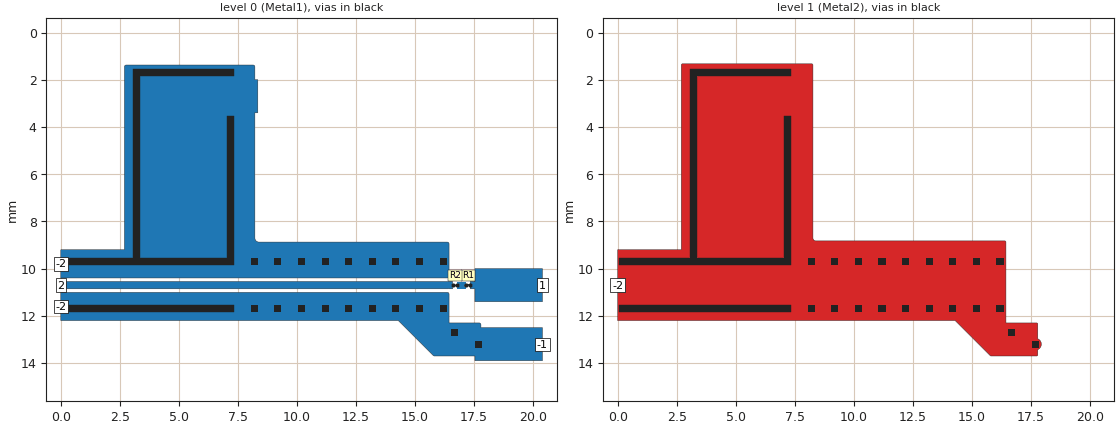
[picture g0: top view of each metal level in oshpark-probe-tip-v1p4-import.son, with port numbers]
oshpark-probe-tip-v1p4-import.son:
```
FTYP SONPROJ 18 ! Sonnet Project File
VER 17.56
HEADER
LIC antikernel2.1.50170 3cfdfeabd719 havequick azonenberg Level3Gold
DAT 03/04/2021 00:49:45
BUILT_BY_CREATED dxf 17.52.2 05/01/2020 05:35:06
BUILT_BY_SAVED sonnet 17.56
MDATE 03/04/2021 00:45:35
HDATE 03/04/2021 00:45:35
ANN Created by dxfgeo, Sonnet Software Inc.
END HEADER
DIM
ANG DEG
CAP PF
CON /OH
FREQ GHZ
IND NH
LNG MM
RES OH
END DIM
CONTROL
VARSWP
OPTIONS  -dj
SPEED 1
CACHE_ABS 1
Q_ACC N
END CONTROL
GEO
TMET "Free Space" 0 FREESPACE 376.7303136 0 0 0
BMET "Free Space" 0 FREESPACE 376.7303136 0 0 0
MET "Copper 1oz thick" 2 TMM 58000000 0.5 0.035 2
MET "Nickel " 3 TMM 14300000 0.5 3.5e-05 2
MET "Copper 0.5oz" 1 NOR 58000000 0.5 0.0175 
MET "Unknown_metal" 1 NOR INF 0.5 0 
MET "Unknown_metal" 1 VOL INF 0
BRI "Alumina (96%)" 0 9.4 0.0004 0 
BRI "Alumina (99.5%)" 0 9.9 0.0001 0 
BRI "Aluminum Nitride" 0 8.6 0.0003 0 
BRI "Arlon 25FR" 0 3.58 0.0035 0 
BRI "Arlon 25N" 0 3.38 0.0025 0 
BRI "Arlon AD5" 0 5.1 0.003 0 
BRI "Arlon AD10" 0 10.2 0.005 0 
BRI "Arlon AD250" 0 2.5 0.0018 0 
BRI "Arlon AD255A" 0 2.55 0.0015 0 
BRI "Arlon AD260A" 0 2.6 0.0018 0 
BRI "Arlon AD270" 0 2.7 0.0023 0 
BRI "Arlon AD300A" 0 3 0.002 0 
BRI "Arlon AD320A" 0 3.2 0.0032 0 
BRI "Arlon AD350A" 0 3.5 0.003 0 
BRI "Arlon AD410" 0 4.1 0.003 0 
BRI "Arlon AD430" 0 4.3 0.003 0 
BRI "Arlon AD450" 0 4.5 0.0035 0 
BRI "Arlon AD600" 0 6.15 0.003 0 
BRI "Arlon AD1000" 0 10.2 0.0023 0 
BRI "Arlon AR1000" 0 9.8 0.003 0 
BRI "Arlon CLTE" 0 2.96 0.0023 0 
BRI "Arlon CLTE-AT" 0 3 0.0013 0 
BRI "Arlon CLTE-P" 0 2.94 0.0025 0 
BRI "Arlon CLTE-XT" 0 2.94 0.0012 0 
BRI "Arlon Cu 217LX" 0 2.17 0.0009 0 
BRI "Arlon Cu 233LX" 0 2.33 0.0013 0 
BRI "Arlon Cu 250GT" 0 2.5 0.001 0 
BRI "Arlon Cu 250GX" 0 2.5 0.0018 0 
BRI "Arlon Cu 6250" 0 2.32 0.0013 0 
BRI "Arlon Cu 6700" 0 2.35 0.0025 0 
BRI "Arlon Di 522" 0 2.5 0.001 0 
BRI "Arlon Di 527" 0 2.5 0.0018 0 
BRI "Arlon Di 870" 0 2.33 0.0013 0 
BRI "Arlon Di 880" 0 2.17 0.0009 0 
BRI "Arlon Iso 917" 0 2.17 0.0013 0 
BRI "Arlon Iso 933" 0 2.33 0.0016 0 
BRI "Arlon Multi HF" 0 3.7 0.004 0 
BRI "Arlon TC350" 0 3.5 0.002 0 
BRI "Arlon TC600" 0 6.15 0.002 0 
BRI "Beryllia (99.5%)" 0 6.5 0.0004 0 
BRI "CEM-1" 0 4.5 0.02 0 
BRI "CEM-3" 0 4.5 0.02 0 
BRI "Dupont 9K7" 0 7.1 0.0012 0 
BRI "Dupont 943" 0 7.4 0.002 0 
BRI "Dupont 951" 0 7.8 0.006 0 
BRI "Dupont FEP" 0 2 0.0005 0 
BRI "Dupont Vacrel" 0 3.8 0.011 0 
BRI "ESL 41010" 0 7.5 0.005 0 
BRI "ESL 41020" 0 7.25 0.005 0 
BRI "ESL 41050" 0 13.5 0.002 0 
BRI "ESL 41060" 0 16.5 0.002 0 
BRI "ESL 41110" 0 4.5 0.004 0 
BRI "Ferro A6M" 0 5.9 0.002 0 
BRI "Ferro A6S" 0 5.9 0.002 0 
BRI "Ferro L8" 0 7.3 0.0018 0 
BRI "FR-4" 0 4.4 0.02 0 
BRI "G-10" 0 4.8 0.025 0 
BRI "Gallium Arsenide" 0 12.9 0.006 0 
BRI "Gallium Nitride" 0 9.7 0 0 
BRI "Glass (Pyrex)" 0 4.82 0.0054 0 
BRI "Heraeus HL2000" 0 7.3 0.0026 0 
BRI "Isola 370HR" 0 4.04 0.021 0 
BRI "Isola FR408" 0 3.77 0.0116 0 
BRI "Isola FR408HR" 0 3.68 0.0092 0 
BRI "Isola Getek" 0 3.6 0.01 0 
BRI "Isola GI-180" 0 3.7 0.013 0 
BRI "Isola IS415" 0 3.82 0.0125 0 
BRI "Isola IS620i" 0 3.58 0.006 0 
BRI "Isola IS680-280" 0 2.8 0.0025 0 
BRI "Isola IS680-300" 0 3 0.003 0 
BRI "Isola IS680-320" 0 3.2 0.003 0 
BRI "Isola IS680-333" 0 3.33 0.003 0 
BRI "Isola IS680-338" 0 3.38 0.0032 0 
BRI "Isola IS680-345" 0 3.45 0.0036 0 
BRI "Kerafol CT800" 0 5.3 0.008 0 
BRI "Nelco MW9350" 0 3.7 0.004 0 
BRI "Nelco N4000-12" 0 3.7 0.008 0 
BRI "Nelco N4000-13" 0 3.7 0.009 0 
BRI "Nelco N4000-13SI" 0 3.2 0.007 0 
BRI "Nelco N4000-13EP" 0 3.7 0.008 0 
BRI "Nelco N4350-13RF" 0 3.5 0.0065 0 
BRI "Nelco N4380-13RF" 0 3.8 0.007 0 
BRI "Nelco N9300-13RF" 0 3 0.004 0 
BRI "Nelco N9320-13RF" 0 3.2 0.0045 0 
BRI "Nelco N9338-13RF" 0 3.38 0.0046 0 
BRI "Nelco N9350-13RF" 0 3.48 0.0055 0 
BRI "Nelco NH9294" 0 2.94 0.0022 0 
BRI "Nelco NH9300" 0 3 0.0023 0 
BRI "Nelco NH9320" 0 3.2 0.0024 0 
BRI "Nelco NH9338" 0 3.38 0.0025 0 
BRI "Nelco NH9348" 0 3.48 0.003 0 
BRI "Nelco NH9350" 0 3.5 0.003 0 
BRI "Nelco NH9410" 0 4.1 0.003 0 
BRI "Nelco NH9450" 0 4.5 0.003 0 
BRI "Nelco NX9240" 0 2.4 0.0016 0 
BRI "Nelco NX9245" 0 2.45 0.0016 0 
BRI "Nelco NX9250" 0 2.5 0.0017 0 
BRI "Nelco NX9255" 0 2.55 0.0018 0 
BRI "Nelco NX9260" 0 2.6 0.0019 0 
BRI "Nelco NY9208" 0 2.08 0.0006 0 
BRI "Nelco NY9217" 0 2.17 0.0008 0 
BRI "Nelco NY9220" 0 2.2 0.0009 0 
BRI "Nelco NY9233" 0 2.33 0.0011 0 
BRI "PET" 0 3.37 0.0208 0 
BRI "Polyimide" 0 3.5 0.003 0 
BRI "Quartz (Fused)" 0 3.78 0.0001 0 
BRI "Rogers 3001" 0 2.28 0.003 0 
BRI "Rogers RO2808" 0 7.6 0.0015 0 
BRI "Rogers RO3003" 0 3 0.0013 0 
BRI "Rogers RO3006" 0 6.5 0.002 0 
BRI "Rogers RO3010" 0 11.2 0.0022 0 
BRI "Rogers RO3035" 0 3.6 0.0018 0 
BRI "Rogers RO3203" 0 3.02 0.0016 0 
BRI "Rogers RO3206" 0 6.6 0.0027 0 
BRI "Rogers RO3210" 0 10.8 0.0027 0 
BRI "Rogers RO3730" 0 3 0.0016 0 
BRI "Rogers RO4003C" 0 3.55 0.0029 0 
BRI "Rogers RO4533" 0 3.45 0.0029 0 
BRI "Rogers RO4534" 0 3.4 0.003 0 
BRI "Rogers RO4350B" 0 3.66 0.0037 0 
BRI "Rogers RO4350BTX" 0 3.66 0.0034 0 
BRI "Rogers RO4360" 0 6.15 0.0038 0 
BRI "Rogers RO4450B-3.6" 0 3.3 0.0043 0 
BRI "Rogers RO4450B-4" 0 3.54 0.004 0 
BRI "Rogers RO4450F" 0 3.52 0.0041 0 
BRI "Rogers RO4730" 0 3 0.0033 0 
BRI "Rogers RT5870" 0 2.33 0.0012 0 
BRI "Rogers RT5880" 0 2.2 0.0009 0 
BRI "Rogers RT5880LZ" 0 1.96 0.0019 0 
BRI "Rogers RT6002" 0 2.94 0.0012 0 
BRI "Rogers RT6006" 0 6.15 0.0027 0 
BRI "Rogers RT6010LM" 0 10.9 0.0023 0 
BRI "Rogers RT6035HTC" 0 3.6 0.0013 0 
BRI "Rogers RT6202" 0 2.94 0.0015 0 
BRI "Rogers RT6202PR" 0 2.95 0.0015 0 
BRI "Rogers Syron7000" 0 3.4 0.0045 0 
BRI "Rogers Syron7100-2" 0 3.61 0.006 0 
BRI "Rogers Syron7100-4" 0 3.39 0.005 0 
BRI "Rogers Theta" 0 4.01 0.0118 0 
BRI "Rogers TMM 3" 0 3.39 0.002 0 
BRI "Rogers TMM 4" 0 4.5 0.002 0 
BRI "Rogers TMM 6" 0 6 0.0023 0 
BRI "Rogers TMM 10" 0 9.56 0.0022 0 
BRI "Rogers TMM 10i" 0 9.96 0.002 0 
BRI "Rogers UL2000" 0 2.5 0.0019 0 
BRI "Rogers UL3850" 0 3.05 0.0025 0 
BRI "Rogers UL3908" 0 2.9 0.0025 0 
BRI "Rogers XT8000" 0 3.34 0.0035 0 
BRI "Rogers XT8100-2" 0 3.54 0.0049 0 
BRI "Rogers XT8100-4" 0 3.32 0.0038 0 
BRI "Silicon (intrinsic)" 0 11.9 0.004 0.00044 
BRI "Silicon Dioxide" 0 3.9 0 0 
BRI "Silicon Nitride" 0 7.5 0 0 
BRI "Taconic CER-10" 0 10 0.0035 0 
BRI "Taconic FastFilm" 0 2.7 0.0012 0 
BRI "Taconic Fastrise-DS" 0 2.96 0.0018 0 
BRI "Taconic Fastrise27" 0 2.7 0.0014 0 
BRI "Taconic Fastrise77" 0 7.7 0.0034 0 
BRI "Taconic FEP" 0 2 0.0003 0 
BRI "Taconic RF-30" 0 3 0.0014 0 
BRI "Taconic RF-35" 0 3.5 0.0018 0 
BRI "Taconic RF-35A2" 0 3.5 0.0011 0 
BRI "Taconic RF-35P" 0 3.5 0.0025 0 
BRI "Taconic RF-41" 0 4.1 0.0038 0 
BRI "Taconic RF-43" 0 4.3 0.0033 0 
BRI "Taconic RF-45" 0 4.5 0.0037 0 
BRI "Taconic RF-60A" 0 6.15 0.0038 0 
BRI "Taconic RF-301" 0 2.97 0.0012 0 
BRI "Taconic TacBond HT" 0 2.35 0.0025 0 
BRI "Taconic TLA-6" 0 2.62 0.0012 0 
BRI "Taconic TLC-27" 0 2.75 0.003 0 
BRI "Taconic TLC-30" 0 3 0.003 0 
BRI "Taconic TLC-32" 0 3.2 0.003 0 
BRI "Taconic TLE-95" 0 2.95 0.0028 0 
BRI "Taconic TLF-34" 0 3.4 0.002 0 
BRI "Taconic TLF-35" 0 3.5 0.002 0 
BRI "Taconic TLP-3" 0 2.33 0.0009 0 
BRI "Taconic TLP-5" 0 2.2 0.0009 0 
BRI "Taconic TLP-5A" 0 2.17 0.0009 0 
BRI "Taconic TLT-0" 0 2.45 0.0006 0 
BRI "Taconic TLT-9" 0 2.5 0.0006 0 
BRI "Taconic TLT-8" 0 2.55 0.0006 0 
BRI "Taconic TLT-7" 0 2.6 0.0006 0 
BRI "Taconic TLT-6" 0 2.65 0.0006 0 
BRI "Taconic TLX-0" 0 2.45 0.0019 0 
BRI "Taconic TLX-9" 0 2.5 0.0019 0 
BRI "Taconic TLX-8" 0 2.55 0.0019 0 
BRI "Taconic TLX-7" 0 2.6 0.0019 0 
BRI "Taconic TLX-6" 0 2.65 0.0019 0 
BRI "Taconic TLY-3" 0 2.33 0.0009 0 
BRI "Taconic TLY-3F" 0 2.33 0.0009 0 
BRI "Taconic TLY-5" 0 2.2 0.0009 0 
BRI "Taconic TLY-5-L" 0 2.2 0.0009 0 
BRI "Taconic TLY-5A" 0 2.17 0.0009 0 
BRI "Taconic TLY-5A-L" 0 2.17 0.0009 0 
BRI "Taconic TPG-30" 0 3 0.0038 0 
BRI "Taconic TPG-32" 0 3.2 0.005 0 
BRI "Taconic TPG-35" 0 3.5 0.005 0 
BRI "Taconic TRF-41" 0 4.1 0.0035 0 
BRI "Taconic TRF-43" 0 4.3 0.0035 0 
BRI "Taconic TRF-45" 0 4.5 0.0035 0 
BRI "Taconic TSM-DS" 0 2.85 0.001 0 
BRI "Taconic TSM-DS3" 0 3 0.0011 0 
BRI "Taconic TSM-26" 0 2.6 0.0014 0 
BRI "Taconic TSM-29" 0 2.94 0.0013 0 
BRI "Taconic TSM-30" 0 3 0.0013 0 
BRI "Teflon (PTFE)" 0 2.08 0.0004 0 
BOX 2 20.4 15 1632 1200 20 0
      1 1 1 0 0 0 0 "Air"
      0.166 3.6 1 0.0092 0 0 0 "Isola FR408HR"
      1 1 1 0 0 0 0 "Air"
TECHLAY METAL Metal1 BLACK -2 0 
0 0 0 N 1387 1 1 100 100 0 0 0 Y
END
END
TECHLAY VIA Via1 <UNSPECIFIED> -4 0 
VIA POLYGON
1 0 -1 N 1399 1 1 100 100 0 0 0 Y
TOLEVEL 0 RING NOCOVERS
END
END
TECHLAY METAL Metal2 BLACK -3 0 
1 0 2 N 1401 1 1 100 100 0 0 0 Y
END
END
LORGN 0 15 U 
POR1 BOX
POLY 418 1
73
-2 50 0 0 0 0 9.7975 
POR1 BOX
POLY 4 1
14
1 50 0 0 0 20.4 10.7 
POR1 BOX
POLY 419 1
6
2 50 0 0 0 0 10.7 
POR1 BOX
POLY 420 1
45
-1 50 0 0 0 20.4 13.2 
POR1 BOX
POLY 420 1
31
-2 50 0 0 0 0 11.6025 
POR1 BOX
POLY 421 1
100
-2 50 0 0 0 0 10.7 
SMD 0 "R1"
ID 434
GNDREF FLOAT
SBOX 17.193875 17.291625 10.637125 10.734875
PBSHW Y
PBOX 17.145 17.3405 10.637125 10.734875
PKG 0.48 0.26 0.05
LPOS 17.24275 10.637125
TYPE SPARAM 1
SMDP 0 17.3405 10.6845 R 3 1 
EXSMDP
GNDREF FLOAT
TERMW FEED
END EXSMDP
SMDP 0 17.145 10.6875 L 4 2 
EXSMDP
GNDREF FLOAT
TERMW FEED
END EXSMDP
END
SMD 0 "R2"
ID 439
GNDREF FLOAT
SBOX 16.645 16.745 10.65 10.75
PBSHW Y
PBOX 16.595 16.795 10.65 10.75
PKG 0.48 0.26 0.05
LPOS 16.695 10.65
TYPE SPARAM 2
SMDP 0 16.795 10.7 R 5 1 
EXSMDP
GNDREF FLOAT
TERMW FEED
END EXSMDP
SMDP 0 16.595 10.7 L 6 2 
EXSMDP
GNDREF FLOAT
TERMW FEED
END EXSMDP
END
NUM 28
0 13 0 N 3 1 1 100 100 0 0 0 Y
TLAYNAM Metal1 INH
16.795 10.855
16.795 10.545
16.945 10.545
16.945 10.55
16.995 10.55
16.995 10.545
17.145 10.545
17.145 10.855
16.995 10.855
16.995 10.85
16.945 10.85
16.945 10.855
16.795 10.855
END
0 77 0 N 418 1 1 100 100 0 0 0 Y
TLAYNAM Metal1 INH
16.388 10.393
16.395 10.391
16.402 10.388
16.409 10.384
16.415 10.38
16.42 10.376
16.426 10.37
16.43 10.365
16.434 10.359
16.438 10.352
16.441 10.345
16.443 10.338
16.445 10.324
16.445 8.946
16.443 8.932
16.441 8.925
16.438 8.918
16.434 8.911
16.43 8.905
16.426 8.9
16.42 8.894
16.415 8.89
16.409 8.886
16.402 8.882
16.395 8.879
16.388 8.877
16.374 8.875
8.401 8.875
8.396 8.876
8.395 8.876
8.358 8.872
8.325 8.862
8.294 8.845
8.274 8.828
8.25 8.799
8.233 8.768
8.223 8.733
8.219 8.7
8.219 8.699
8.22 8.692
8.22 3.4
8.345 3.4
8.345 2
8.22 2
8.22 1.446
8.218 1.432
8.216 1.425
8.213 1.418
8.209 1.411
8.205 1.405
8.201 1.4
8.195 1.394
8.19 1.39
8.184 1.386
8.177 1.382
8.17 1.379
8.163 1.377
8.149 1.375
2.766 1.375
2.752 1.377
2.745 1.379
2.738 1.382
2.731 1.386
2.725 1.39
2.72 1.394
2.714 1.4
2.71 1.405
2.706 1.411
2.702 1.418
2.699 1.425
2.697 1.432
2.695 1.446
2.695 9.2
0 9.2
0 10.395
16.374 10.395
16.388 10.393
END
0 17 0 N 4 1 1 100 100 0 0 0 Y
TLAYNAM Metal1 INH
17.54 11.4
17.54 10.855
17.345 10.855
17.345 10.741
17.344 10.738
17.341 10.723
17.34 10.708
17.34 10.692
17.341 10.677
17.344 10.662
17.345 10.659
17.345 10.545
17.54 10.545
17.54 10
20.4 10
20.4 11.4
17.54 11.4
END
0 15 0 N 419 1 1 100 100 0 0 0 Y
TLAYNAM Metal1 INH
16.595 10.545
16.445 10.545
16.445 10.553
16.433 10.549
16.418 10.546
16.403 10.545
0 10.545
0 10.855
16.403 10.855
16.418 10.854
16.433 10.851
16.445 10.847
16.445 10.855
16.595 10.855
16.595 10.545
END
0 47 0 N 420 1 1 100 100 0 0 0 Y
TLAYNAM Metal1 INH
20.4 12.5
17.795 12.5
17.795 12.371
17.793 12.357
17.791 12.35
17.788 12.343
17.784 12.336
17.78 12.33
17.776 12.325
17.77 12.319
17.765 12.315
17.759 12.311
17.752 12.307
17.745 12.304
17.738 12.302
17.724 12.3
16.445 12.3
16.445 11.076
16.443 11.062
16.441 11.055
16.438 11.048
16.434 11.041
16.43 11.035
16.426 11.03
16.42 11.024
16.415 11.02
16.409 11.016
16.402 11.012
16.395 11.009
16.388 11.007
16.374 11.005
0 11.005
0 12.2
14.295 12.2
14.295 12.201
14.296 12.201
15.776 13.681
15.781 13.685
15.787 13.689
15.794 13.693
15.801 13.696
15.808 13.698
15.822 13.7
17.54 13.7
17.54 13.9
20.4 13.9
20.4 12.5
END
VIA POLYGON
1 5 -1 N 153 1 1 100 100 0 0 0 Y
TOLEVEL 0 RING NOCOVERS
TLAYNAM Via1 INH
12.045 9.85
12.045 9.55
12.345 9.55
12.345 9.85
12.045 9.85
END
VIA POLYGON
1 5 -1 N 150 1 1 100 100 0 0 0 Y
TOLEVEL 0 RING NOCOVERS
TLAYNAM Via1 INH
9.045 9.85
9.045 9.55
9.345 9.55
9.345 9.85
9.045 9.85
END
VIA POLYGON
1 5 -1 N 154 1 1 100 100 0 0 0 Y
TOLEVEL 0 RING NOCOVERS
TLAYNAM Via1 INH
13.045 9.85
13.045 9.55
13.345 9.55
13.345 9.85
13.045 9.85
END
VIA POLYGON
1 5 -1 N 152 1 1 100 100 0 0 0 Y
TOLEVEL 0 RING NOCOVERS
TLAYNAM Via1 INH
11.045 9.85
11.045 9.55
11.345 9.55
11.345 9.85
11.045 9.85
END
VIA POLYGON
1 5 -1 N 156 1 1 100 100 0 0 0 Y
TOLEVEL 0 RING NOCOVERS
TLAYNAM Via1 INH
15.045 9.85
15.045 9.55
15.345 9.55
15.345 9.85
15.045 9.85
END
VIA POLYGON
1 5 -1 N 157 1 1 100 100 0 0 0 Y
TOLEVEL 0 RING NOCOVERS
TLAYNAM Via1 INH
16.045 9.85
16.045 9.55
16.345 9.55
16.345 9.85
16.045 9.85
END
VIA POLYGON
1 5 -1 N 155 1 1 100 100 0 0 0 Y
TOLEVEL 0 RING NOCOVERS
TLAYNAM Via1 INH
14.045 9.85
14.045 9.55
14.345 9.55
14.345 9.85
14.045 9.85
END
VIA POLYGON
1 5 -1 N 151 1 1 100 100 0 0 0 Y
TOLEVEL 0 RING NOCOVERS
TLAYNAM Via1 INH
10.045 9.85
10.045 9.55
10.345 9.55
10.345 9.85
10.045 9.85
END
VIA POLYGON
1 5 -1 N 149 1 1 100 100 0 0 0 Y
TOLEVEL 0 RING NOCOVERS
TLAYNAM Via1 INH
8.045 9.85
8.045 9.55
8.345 9.55
8.345 9.85
8.045 9.85
END
VIA POLYGON
1 5 -1 N 115 1 1 100 100 0 0 0 Y
TOLEVEL 0 RING NOCOVERS
TLAYNAM Via1 INH
9.045 11.85
9.045 11.55
9.345 11.55
9.345 11.85
9.045 11.85
END
VIA POLYGON
1 5 -1 N 121 1 1 100 100 0 0 0 Y
TOLEVEL 0 RING NOCOVERS
TLAYNAM Via1 INH
15.045 11.85
15.045 11.55
15.345 11.55
15.345 11.85
15.045 11.85
END
VIA POLYGON
1 5 -1 N 117 1 1 100 100 0 0 0 Y
TOLEVEL 0 RING NOCOVERS
TLAYNAM Via1 INH
11.045 11.85
11.045 11.55
11.345 11.55
11.345 11.85
11.045 11.85
END
VIA POLYGON
1 5 -1 N 123 1 1 100 100 0 0 0 Y
TOLEVEL 0 RING NOCOVERS
TLAYNAM Via1 INH
17.545 13.35
17.545 13.05
17.845 13.05
17.845 13.35
17.545 13.35
END
VIA POLYGON
1 5 -1 N 119 1 1 100 100 0 0 0 Y
TOLEVEL 0 RING NOCOVERS
TLAYNAM Via1 INH
13.045 11.85
13.045 11.55
13.345 11.55
13.345 11.85
13.045 11.85
END
VIA POLYGON
1 5 -1 N 116 1 1 100 100 0 0 0 Y
TOLEVEL 0 RING NOCOVERS
TLAYNAM Via1 INH
10.045 11.85
10.045 11.55
10.345 11.55
10.345 11.85
10.045 11.85
END
VIA POLYGON
1 5 -1 N 114 1 1 100 100 0 0 0 Y
TOLEVEL 0 RING NOCOVERS
TLAYNAM Via1 INH
8.045 11.85
8.045 11.55
8.345 11.55
8.345 11.85
8.045 11.85
END
VIA POLYGON
1 5 -1 N 120 1 1 100 100 0 0 0 Y
TOLEVEL 0 RING NOCOVERS
TLAYNAM Via1 INH
14.045 11.85
14.045 11.55
14.345 11.55
14.345 11.85
14.045 11.85
END
VIA POLYGON
1 5 -1 N 118 1 1 100 100 0 0 0 Y
TOLEVEL 0 RING NOCOVERS
TLAYNAM Via1 INH
12.045 11.85
12.045 11.55
12.345 11.55
12.345 11.85
12.045 11.85
END
VIA POLYGON
1 5 -1 N 163 1 1 100 100 0 0 0 Y
TOLEVEL 0 RING NOCOVERS
TLAYNAM Via1 INH
16.545 12.85
16.545 12.55
16.845 12.55
16.845 12.85
16.545 12.85
END
VIA POLYGON
1 5 -1 N 122 1 1 100 100 0 0 0 Y
TOLEVEL 0 RING NOCOVERS
TLAYNAM Via1 INH
16.045 11.85
16.045 11.55
16.345 11.55
16.345 11.85
16.045 11.85
END
VIA POLYGON
1 5 -1 N 1165 1 1 100 100 0 0 0 Y
TOLEVEL 0 RING NOCOVERS
TLAYNAM Via1 INH
7.345 11.55
0.045 11.55
0.045 11.85
7.345 11.85
7.345 11.55
END
VIA POLYGON
1 15 -1 N 1166 1 1 100 100 0 0 0 Y
TOLEVEL 0 RING NOCOVERS
TLAYNAM Via1 INH
7.345 9.55
7.345 3.55
7.045 3.55
7.045 9.55
3.345 9.55
3.345 1.85
7.35 1.85
7.35 1.55
3.045 1.55
3.045 1.775
3.045 9.55
0.045 9.55
0.045 9.85
7.345 9.85
7.345 9.55
END
1 115 2 N 421 1 1 100 100 0 0 0 Y
TLAYNAM Metal2 INH
17.757 13.699
17.762 13.697
17.766 13.695
17.771 13.693
17.779 13.687
17.782 13.684
17.788 13.676
17.79 13.671
17.792 13.667
17.794 13.662
17.795 13.657
17.795 13.429
17.802 13.426
17.824 13.414
17.844 13.401
17.863 13.385
17.88 13.368
17.896 13.349
17.909 13.329
17.921 13.307
17.93 13.284
17.938 13.261
17.942 13.237
17.945 13.212
17.945 13.188
17.942 13.163
17.938 13.139
17.93 13.116
17.921 13.093
17.909 13.071
17.896 13.051
17.88 13.032
17.863 13.015
17.844 12.999
17.824 12.986
17.802 12.974
17.795 12.971
17.795 12.343
17.794 12.338
17.792 12.333
17.79 12.329
17.788 12.324
17.782 12.316
17.779 12.313
17.771 12.307
17.766 12.305
17.762 12.303
17.757 12.301
17.752 12.3
16.445 12.3
16.445 8.868
16.443 8.858
16.441 8.854
16.438 8.849
16.436 8.845
16.433 8.841
16.432 8.841
16.429 8.838
16.421 8.832
16.417 8.83
16.412 8.828
16.408 8.826
16.403 8.825
8.396 8.825
8.371 8.823
8.343 8.814
8.34 8.813
8.327 8.806
8.304 8.787
8.295 8.776
8.294 8.773
8.28 8.748
8.271 8.721
8.27 8.701
8.27 1.368
8.269 1.363
8.267 1.358
8.265 1.354
8.263 1.349
8.257 1.341
8.254 1.338
8.246 1.332
8.241 1.33
8.237 1.328
8.232 1.326
8.227 1.325
2.738 1.325
2.733 1.326
2.728 1.328
2.724 1.33
2.719 1.332
2.711 1.338
2.708 1.341
2.702 1.349
2.7 1.354
2.698 1.358
2.696 1.363
2.695 1.368
2.695 9.199
2.694 9.2
0 9.2
0 12.2
14.294 12.2
14.3 12.205
14.304 12.208
15.779 13.684
15.782 13.687
15.79 13.693
15.794 13.695
15.795 13.695
15.799 13.697
15.804 13.699
15.808 13.7
17.752 13.7
17.757 13.699
END
END GEO
OPT
MAX 100
END OPT
VARSWP
ENABLED Y
FREQ Y AY ABS_ENTRY 0.1 16.0 -1 300 
END
END VARSWP
3DOPTIONS
GLOBAL 1
ALL 3 1
END 3DOPTIONS
SMDFILES
1 "../../../../../../../bulk/datasheets/Vishay/Resistors/CH/CH02016F_P/CH02016F_P_250R.s2p"
2 "../../../../../../../bulk/datasheets/Vishay/Resistors/CH/CH02016F_P/CH02016F_P_200R.s2p"
END SMDFILES
```
